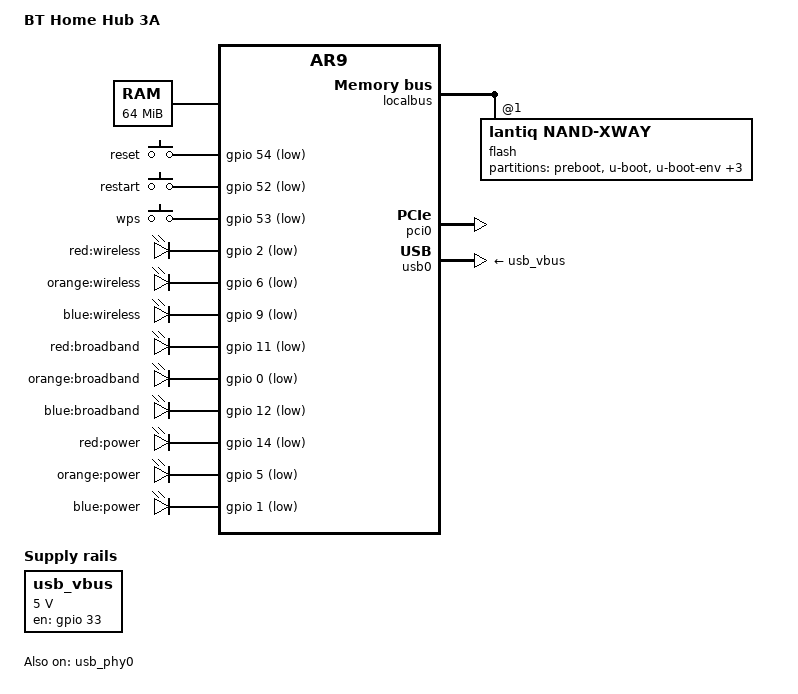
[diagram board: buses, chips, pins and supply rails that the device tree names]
#include "ar9.dtsi"

#include <dt-bindings/input/input.h>

/ {
	compatible = "bt,homehub-v3a", "lantiq,xway", "lantiq,ar9";
	model = "BT Home Hub 3A";  /* SoC: Lantiq ar9 @ 333MHz */

	chosen {
		bootargs = "console=ttyLTQ0,115200";
	};

	aliases {
		led-boot = &power_orange;
		led-failsafe = &power_red;
		led-running = &power_blue;
		led-upgrade = &power_blue;

		led-dsl = &broadband_blue;
		led-wifi = &wireless_blue;
	};

	memory@0 {				  /* RAM: Samsung K4H511638F-LC 64MB */
		device_type = "memory";
		reg = <0x0 0x4000000>;
	};

	keys {
		compatible = "gpio-keys-polled";
		poll-interval = <100>;
		reset {
			label = "reset";
			gpios = <&gpio 54 GPIO_ACTIVE_LOW>;
			linux,code = <KEY_RESTART>;
		};
		restart {
			label = "restart";
			gpios = <&gpio 52 GPIO_ACTIVE_LOW>;
			linux,code = <KEY_POWER>;
		};
		wps {
			label = "wps";
			gpios = <&gpio 53 GPIO_ACTIVE_LOW>;
			linux,code = <KEY_WPS_BUTTON>;
		};
	};

	leds {
		compatible = "gpio-leds";

		wireless-red {
			label = "red:wireless";
			gpios = <&gpio 2 GPIO_ACTIVE_LOW>;
		};
		wireless-orange {
			label = "orange:wireless";
			gpios = <&gpio 6 GPIO_ACTIVE_LOW>;
		};
		wireless_blue: wireless-blue {
			label = "blue:wireless";
			gpios = <&gpio 9 GPIO_ACTIVE_LOW>;
		};

		broadband-red {
			label = "red:broadband";
			gpios = <&gpio 11 GPIO_ACTIVE_LOW>;
		};
		broadband-orange {
			label = "orange:broadband";
			gpios = <&gpio 0 GPIO_ACTIVE_LOW>;
		};
		broadband_blue: broadband-blue {
			label = "blue:broadband";
			gpios = <&gpio 12 GPIO_ACTIVE_LOW>;
		};

		power_red: power-red {
			label = "red:power";
			gpios = <&gpio 14 GPIO_ACTIVE_LOW>;
		};
		power_orange: power-orange {
			label = "orange:power";
			gpios = <&gpio 5 GPIO_ACTIVE_LOW>;
			default-state = "keep";
		};
		power_blue: power-blue {
			label = "blue:power";
			gpios = <&gpio 1 GPIO_ACTIVE_LOW>;
		};
	};

	usb_vbus: regulator-usb-vbus {
		compatible = "regulator-fixed";

		regulator-name = "USB_VBUS";

		regulator-min-microvolt = <5000000>;
		regulator-max-microvolt = <5000000>;

		gpio = <&gpio 33 GPIO_ACTIVE_HIGH>;
		enable-active-high;
	};
};

&gpio {
	pinctrl-names = "default";
	pinctrl-0 = <&state_default>;

	state_default: pinmux {
		pci_rst {
			lantiq,pins = "io21";
			lantiq,output = <1>;
			lantiq,open-drain = <0>;
		};
	};
};

&gsw {
	phy-mode = "rgmii";
};

&localbus {
	flash@1 {		  /* NAND Flash: Samsung K9F5608U0D-JIB0 32MB */
		compatible = "lantiq,nand-xway";
		lantiq,cs = <1>;
		bank-width = <2>;
		reg = <1 0x0 0x2000000 >;
		req-mask = <0x1>;  /* PCI request lines to mask during NAND access */

		pinctrl-0 = <&nand_pins>, <&nand_cs1_pins>;
		pinctrl-names = "default";

		partitions {
			compatible = "fixed-partitions";
			#address-cells = <1>;
			#size-cells = <1>;

			partition@0 {
				label = "preboot";
				reg = <0x00000 0x8000>;
				read-only;
			};
			partition@8000 {
				label = "u-boot";
				reg = <0x8000 0x05c000>;
				read-only;
			};
			partition@64000 {
				label = "u-boot-env";
				reg = <0x64000 0x004000>;
			};
			ath9k_cal: partition@68000 {
				label = "art-copy";
				reg = <0x68000 0x004000>;
			};
			partition@6c000 {
				label = "kernel";
				reg = <0x6c000 0x200000>;
			};
			partition@26c000 {
				label = "ubi";
				reg = <0x26c000 0x1d94000>;
			};
		};
	};
};

&pci0 {
	status = "okay";

	pinctrl-0 = <&pci_gnt1_pins>, <&pci_req1_pins>;
	pinctrl-names = "default";

	gpio-reset = <&gpio 21 GPIO_ACTIVE_HIGH>;

	wifi@7000 {
		reg = <0x7000 0 0 0 0>;
		qca,no-eeprom; /* load from ath9k-eeprom-pci-0000:00:0e.0.bin */
	};
};

&usb_phy0 {
	status = "okay";
};

&usb0 {
	status = "okay";
	vbus-supply = <&usb_vbus>;
};
